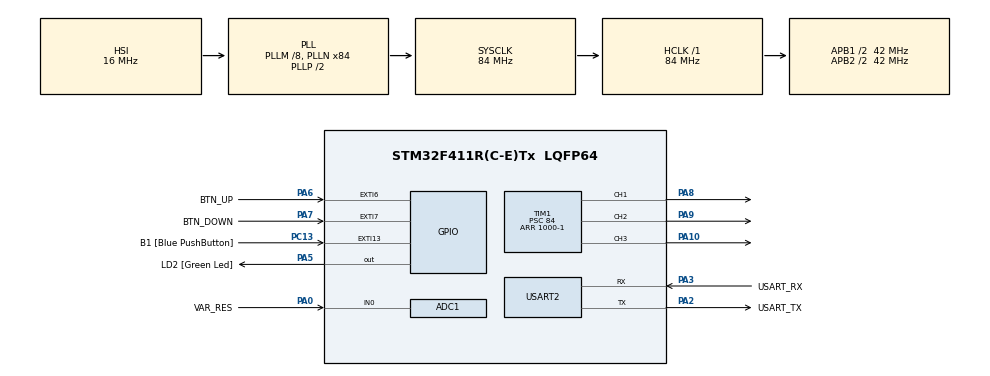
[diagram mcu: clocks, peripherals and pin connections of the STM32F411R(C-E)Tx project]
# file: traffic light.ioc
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ADC1.Channel-0\#ChannelRegularConversion=ADC_CHANNEL_0
ADC1.NbrOfConversionFlag=1
ADC1.Rank-0\#ChannelRegularConversion=1
ADC1.SamplingTime-0\#ChannelRegularConversion=ADC_SAMPLETIME_15CYCLES
ADC1.ScanConvMode=DISABLE
ADC1.master=1
Mcu.Family=STM32F4
Mcu.Name=STM32F411R(C-E)Tx
Mcu.Package=LQFP64
NVIC.ADC_IRQn=true\:0\:0\:false\:false\:true\:true\:true\:true
NVIC.EXTI9_5_IRQn=true\:0\:0\:false\:false\:true\:true\:true\:true
NVIC.PriorityGroup=NVIC_PRIORITYGROUP_0
NVIC.TIM1_UP_TIM10_IRQn=true\:0\:0\:false\:false\:true\:true\:true\:true
PA0-WKUP.GPIO_Label=VAR_RES
PA0-WKUP.Signal=ADCx_IN0
PA10.Signal=S_TIM1_CH3
PA13.GPIO_Label=TMS
PA13.Mode=Serial_Wire
PA13.Signal=SYS_JTMS-SWDIO
PA14.GPIO_Label=TCK
PA14.Mode=Serial_Wire
PA14.Signal=SYS_JTCK-SWCLK
PA2.GPIO_Label=USART_TX
PA2.Mode=Asynchronous
PA2.Signal=USART2_TX
PA3.GPIO_Label=USART_RX
PA3.Mode=Asynchronous
PA3.Signal=USART2_RX
PA5.GPIO_Label=LD2 [Green Led]
PA5.Signal=GPIO_Output
PA6.GPIO_Label=BTN_UP
PA6.Signal=GPXTI6
PA7.GPIO_Label=BTN_DOWN
PA7.Signal=GPXTI7
PA8.Signal=S_TIM1_CH1
PA9.Signal=S_TIM1_CH2
PB3.GPIO_Label=SWO
PB3.Signal=SYS_JTDO-SWO
PC13-ANTI_TAMP.GPIO_Label=B1 [Blue PushButton]
PC13-ANTI_TAMP.GPIO_ModeDefaultEXTI=GPIO_MODE_IT_FALLING
PC13-ANTI_TAMP.Signal=GPXTI13
PC14-OSC32_IN.Mode=LSE-External-Oscillator
PC14-OSC32_IN.Signal=RCC_OSC32_IN
PC15-OSC32_OUT.Mode=LSE-External-Oscillator
PC15-OSC32_OUT.Signal=RCC_OSC32_OUT
PH0\ -\ OSC_IN.Mode=HSE-External-Clock-Source
PH0\ -\ OSC_IN.Signal=RCC_OSC_IN
PH1\ -\ OSC_OUT.Mode=HSE-External-Clock-Source
PH1\ -\ OSC_OUT.Signal=RCC_OSC_OUT
ProjectManager.HeapSize=0x200
ProjectManager.StackSize=0x400
ProjectManager.TargetToolchain=STM32CubeIDE
RCC.48MHZClocksFreq_Value=42000000
RCC.AHBFreq_Value=84000000
RCC.APB1CLKDivider=RCC_HCLK_DIV2
RCC.APB1Freq_Value=42000000
RCC.APB1TimFreq_Value=84000000
RCC.APB2CLKDivider=RCC_HCLK_DIV2
RCC.APB2Freq_Value=42000000
RCC.APB2TimFreq_Value=84000000
RCC.CortexFreq_Value=84000000
RCC.FLatency-AdvancedSettings=FLASH_LATENCY_2
RCC.HCLKFreq_Value=84000000
RCC.HSE_VALUE=8000000
RCC.HSI_VALUE=16000000
RCC.PLLM=8
RCC.PLLN=84
RCC.SYSCLKFreq_VALUE=84000000
RCC.SYSCLKSource=RCC_SYSCLKSOURCE_PLLCLK
RCC.VCOOutputFreq_Value=168000000
SH.ADCx_IN0.0=ADC1_IN0,IN0
SH.S_TIM1_CH1.0=TIM1_CH1,PWM Generation1 CH1
SH.S_TIM1_CH2.0=TIM1_CH2,PWM Generation2 CH2
SH.S_TIM1_CH3.0=TIM1_CH3,PWM Generation3 CH3
TIM1.Channel-PWM\ Generation1\ CH1=TIM_CHANNEL_1
TIM1.Channel-PWM\ Generation2\ CH2=TIM_CHANNEL_2
TIM1.Channel-PWM\ Generation3\ CH3=TIM_CHANNEL_3
TIM1.Period=1000-1
TIM1.Prescaler=84
USART2.VirtualMode=VM_ASYNC
board=NUCLEO-F411RE

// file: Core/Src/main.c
/* USER CODE BEGIN Header */
/**
  ******************************************************************************
  * @file           : main.c
  * @brief          : Main program body
  ******************************************************************************
  * @attention
  *
  * Copyright (c) 2025 STMicroelectronics.
  * All rights reserved.
  *
  * This software is licensed under terms that can be found in the LICENSE file
  * in the root directory of this software component.
  * If no LICENSE file comes with this software, it is provided AS-IS.
  *
  ******************************************************************************
  */
/* USER CODE END Header */
#include "main.h"

/* USER CODE BEGIN Includes */
#include <stdio.h>
/* USER CODE END Includes */

/* USER CODE BEGIN PTD */
typedef enum {
	LIGHT_RED,
	LIGHT_YELLOW,
	LIGHT_GREEN
} TrafficLightState;
/* USER CODE END PTD */

/* USER CODE BEGIN PD */
#ifdef __GNUC__
/* With GCC, small printf (option LD Linker->Libraries->Small printf
   set to 'Yes') calls __io_putchar() */
#define PUTCHAR_PROTOTYPE int __io_putchar(int ch)
#else
#define PUTCHAR_PROTOTYPE int fputc(int ch, FILE *f)
#endif /* __GNUC__ */

#define MAX_ADD_DURATION 10
/* USER CODE END PD */

ADC_HandleTypeDef hadc1;

TIM_HandleTypeDef htim1;

UART_HandleTypeDef huart2;

/* USER CODE BEGIN PV */
int RLedVal = 0;
int GLedVal = 0;
int BLedVal = 0;

int RDurationSec = 3;
int YDurationSec = 1;
int GDurationSec = 3;

int addDurationSec = 0;

int trafficCount = 0;

int brightness = 0;

TrafficLightState trafficLightState = LIGHT_RED;
/* USER CODE END PV */

void SystemClock_Config(void);
static void MX_GPIO_Init(void);
static void MX_USART2_UART_Init(void);
static void MX_ADC1_Init(void);
static void MX_TIM1_Init(void);
/* USER CODE BEGIN PFP */
void Traffic_SecondUpdate(void);
/* USER CODE END PFP */

int main(void)
{

  /* MCU Configuration--------------------------------------------------------*/

  /* Reset of all peripherals, Initializes the Flash interface and the Systick. */
  HAL_Init();

  /* Configure the system clock */
  SystemClock_Config();

  /* Initialize all configured peripherals */
  MX_GPIO_Init();
  MX_USART2_UART_Init();
  MX_ADC1_Init();
  MX_TIM1_Init();
  /* USER CODE BEGIN 2 */
  HAL_TIM_PWM_Start(&htim1, TIM_CHANNEL_1);
  HAL_TIM_PWM_Start(&htim1, TIM_CHANNEL_2);
  HAL_TIM_PWM_Start(&htim1, TIM_CHANNEL_3);

  HAL_TIM_Base_Start_IT(&htim1);  // 업데이트 인터럽트 시작
  // ADC 레귤러 그룹의 동작을 시작하고 관련 이터럽트를 인에이블 시킴
  if(HAL_ADC_Start_IT(&hadc1) != HAL_OK) {
	  Error_Handler();
  }
  /* USER CODE END 2 */

  /* Infinite loop */
  while (1)
  {

    /* USER CODE BEGIN 3 */
	  __HAL_TIM_SET_COMPARE(&htim1, TIM_CHANNEL_1, RLedVal); // 빨강
	  __HAL_TIM_SET_COMPARE(&htim1, TIM_CHANNEL_2, GLedVal); // 초록
	  __HAL_TIM_SET_COMPARE(&htim1, TIM_CHANNEL_3, BLedVal); // 파랑
  }
  /* USER CODE END 3 */
}

void SystemClock_Config(void)
{
  RCC_OscInitTypeDef RCC_OscInitStruct = {0};
  RCC_ClkInitTypeDef RCC_ClkInitStruct = {0};

  /** Configure the main internal regulator output voltage
  */
  __HAL_RCC_PWR_CLK_ENABLE();
  __HAL_PWR_VOLTAGESCALING_CONFIG(PWR_REGULATOR_VOLTAGE_SCALE1);

  /** Initializes the RCC Oscillators according to the specified parameters
  * in the RCC_OscInitTypeDef structure.
  */
  RCC_OscInitStruct.OscillatorType = RCC_OSCILLATORTYPE_HSI;
  RCC_OscInitStruct.HSIState = RCC_HSI_ON;
  RCC_OscInitStruct.HSICalibrationValue = RCC_HSICALIBRATION_DEFAULT;
  RCC_OscInitStruct.PLL.PLLState = RCC_PLL_ON;
  RCC_OscInitStruct.PLL.PLLSource = RCC_PLLSOURCE_HSI;
  RCC_OscInitStruct.PLL.PLLM = 8;
  RCC_OscInitStruct.PLL.PLLN = 84;
  RCC_OscInitStruct.PLL.PLLP = RCC_PLLP_DIV2;
  RCC_OscInitStruct.PLL.PLLQ = 4;
  if (HAL_RCC_OscConfig(&RCC_OscInitStruct) != HAL_OK)
  {
    Error_Handler();
  }

  /** Initializes the CPU, AHB and APB buses clocks
  */
  RCC_ClkInitStruct.ClockType = RCC_CLOCKTYPE_HCLK|RCC_CLOCKTYPE_SYSCLK
                              |RCC_CLOCKTYPE_PCLK1|RCC_CLOCKTYPE_PCLK2;
  RCC_ClkInitStruct.SYSCLKSource = RCC_SYSCLKSOURCE_PLLCLK;
  RCC_ClkInitStruct.AHBCLKDivider = RCC_SYSCLK_DIV1;
  RCC_ClkInitStruct.APB1CLKDivider = RCC_HCLK_DIV2;
  RCC_ClkInitStruct.APB2CLKDivider = RCC_HCLK_DIV2;

  if (HAL_RCC_ClockConfig(&RCC_ClkInitStruct, FLASH_LATENCY_2) != HAL_OK)
  {
    Error_Handler();
  }
}

static void MX_ADC1_Init(void)
{

  ADC_ChannelConfTypeDef sConfig = {0};

  /** Configure the global features of the ADC (Clock, Resolution, Data Alignment and number of conversion)
  */
  hadc1.Instance = ADC1;
  hadc1.Init.ClockPrescaler = ADC_CLOCK_SYNC_PCLK_DIV2;
  hadc1.Init.Resolution = ADC_RESOLUTION_12B;
  hadc1.Init.ScanConvMode = DISABLE;
  hadc1.Init.ContinuousConvMode = DISABLE;
  hadc1.Init.DiscontinuousConvMode = DISABLE;
  hadc1.Init.ExternalTrigConvEdge = ADC_EXTERNALTRIGCONVEDGE_NONE;
  hadc1.Init.ExternalTrigConv = ADC_SOFTWARE_START;
  hadc1.Init.DataAlign = ADC_DATAALIGN_RIGHT;
  hadc1.Init.NbrOfConversion = 1;
  hadc1.Init.DMAContinuousRequests = DISABLE;
  hadc1.Init.EOCSelection = ADC_EOC_SINGLE_CONV;
  if (HAL_ADC_Init(&hadc1) != HAL_OK)
  {
    Error_Handler();
  }

  /** Configure for the selected ADC regular channel its corresponding rank in the sequencer and its sample time.
  */
  sConfig.Channel = ADC_CHANNEL_0;
  sConfig.Rank = 1;
  sConfig.SamplingTime = ADC_SAMPLETIME_15CYCLES;
  if (HAL_ADC_ConfigChannel(&hadc1, &sConfig) != HAL_OK)
  {
    Error_Handler();
  }

}

static void MX_TIM1_Init(void)
{

  TIM_MasterConfigTypeDef sMasterConfig = {0};
  TIM_OC_InitTypeDef sConfigOC = {0};
  TIM_BreakDeadTimeConfigTypeDef sBreakDeadTimeConfig = {0};

  htim1.Instance = TIM1;
  htim1.Init.Prescaler = 84;
  htim1.Init.CounterMode = TIM_COUNTERMODE_UP;
  htim1.Init.Period = 1000-1;
  htim1.Init.ClockDivision = TIM_CLOCKDIVISION_DIV1;
  htim1.Init.RepetitionCounter = 0;
  htim1.Init.AutoReloadPreload = TIM_AUTORELOAD_PRELOAD_DISABLE;
  if (HAL_TIM_PWM_Init(&htim1) != HAL_OK)
  {
    Error_Handler();
  }
  sMasterConfig.MasterOutputTrigger = TIM_TRGO_RESET;
  sMasterConfig.MasterSlaveMode = TIM_MASTERSLAVEMODE_DISABLE;
  if (HAL_TIMEx_MasterConfigSynchronization(&htim1, &sMasterConfig) != HAL_OK)
  {
    Error_Handler();
  }
  sConfigOC.OCMode = TIM_OCMODE_PWM1;
  sConfigOC.Pulse = 0;
  sConfigOC.OCPolarity = TIM_OCPOLARITY_HIGH;
  sConfigOC.OCNPolarity = TIM_OCNPOLARITY_HIGH;
  sConfigOC.OCFastMode = TIM_OCFAST_DISABLE;
  sConfigOC.OCIdleState = TIM_OCIDLESTATE_RESET;
  sConfigOC.OCNIdleState = TIM_OCNIDLESTATE_RESET;
  if (HAL_TIM_PWM_ConfigChannel(&htim1, &sConfigOC, TIM_CHANNEL_1) != HAL_OK)
  {
    Error_Handler();
  }
  if (HAL_TIM_PWM_ConfigChannel(&htim1, &sConfigOC, TIM_CHANNEL_2) != HAL_OK)
  {
    Error_Handler();
  }
  if (HAL_TIM_PWM_ConfigChannel(&htim1, &sConfigOC, TIM_CHANNEL_3) != HAL_OK)
  {
    Error_Handler();
  }
  sBreakDeadTimeConfig.OffStateRunMode = TIM_OSSR_DISABLE;
  sBreakDeadTimeConfig.OffStateIDLEMode = TIM_OSSI_DISABLE;
  sBreakDeadTimeConfig.LockLevel = TIM_LOCKLEVEL_OFF;
  sBreakDeadTimeConfig.DeadTime = 0;
  sBreakDeadTimeConfig.BreakState = TIM_BREAK_DISABLE;
  sBreakDeadTimeConfig.BreakPolarity = TIM_BREAKPOLARITY_HIGH;
  sBreakDeadTimeConfig.AutomaticOutput = TIM_AUTOMATICOUTPUT_DISABLE;
  if (HAL_TIMEx_ConfigBreakDeadTime(&htim1, &sBreakDeadTimeConfig) != HAL_OK)
  {
    Error_Handler();
  }
  HAL_TIM_MspPostInit(&htim1);

}

static void MX_USART2_UART_Init(void)
{

  huart2.Instance = USART2;
  huart2.Init.BaudRate = 115200;
  huart2.Init.WordLength = UART_WORDLENGTH_8B;
  huart2.Init.StopBits = UART_STOPBITS_1;
  huart2.Init.Parity = UART_PARITY_NONE;
  huart2.Init.Mode = UART_MODE_TX_RX;
  huart2.Init.HwFlowCtl = UART_HWCONTROL_NONE;
  huart2.Init.OverSampling = UART_OVERSAMPLING_16;
  if (HAL_UART_Init(&huart2) != HAL_OK)
  {
    Error_Handler();
  }

}

static void MX_GPIO_Init(void)
{
  GPIO_InitTypeDef GPIO_InitStruct = {0};

  /* GPIO Ports Clock Enable */
  __HAL_RCC_GPIOC_CLK_ENABLE();
  __HAL_RCC_GPIOH_CLK_ENABLE();
  __HAL_RCC_GPIOA_CLK_ENABLE();
  __HAL_RCC_GPIOB_CLK_ENABLE();

  /*Configure GPIO pin Output Level */
  HAL_GPIO_WritePin(LD2_GPIO_Port, LD2_Pin, GPIO_PIN_RESET);

  /*Configure GPIO pin : B1_Pin */
  GPIO_InitStruct.Pin = B1_Pin;
  GPIO_InitStruct.Mode = GPIO_MODE_IT_FALLING;
  GPIO_InitStruct.Pull = GPIO_NOPULL;
  HAL_GPIO_Init(B1_GPIO_Port, &GPIO_InitStruct);

  /*Configure GPIO pin : LD2_Pin */
  GPIO_InitStruct.Pin = LD2_Pin;
  GPIO_InitStruct.Mode = GPIO_MODE_OUTPUT_PP;
  GPIO_InitStruct.Pull = GPIO_NOPULL;
  GPIO_InitStruct.Speed = GPIO_SPEED_FREQ_LOW;
  HAL_GPIO_Init(LD2_GPIO_Port, &GPIO_InitStruct);

  /*Configure GPIO pins : BTN_UP_Pin BTN_DOWN_Pin */
  GPIO_InitStruct.Pin = BTN_UP_Pin|BTN_DOWN_Pin;
  GPIO_InitStruct.Mode = GPIO_MODE_IT_RISING;
  GPIO_InitStruct.Pull = GPIO_NOPULL;
  HAL_GPIO_Init(GPIOA, &GPIO_InitStruct);

  /* EXTI interrupt init*/
  HAL_NVIC_SetPriority(EXTI9_5_IRQn, 0, 0);
  HAL_NVIC_EnableIRQ(EXTI9_5_IRQn);

}

/* USER CODE BEGIN 4 */
PUTCHAR_PROTOTYPE
{
  /* Place your implementation of fputc here */
  /* e.g. write a character to the USART6 and Loop until the end of transmission */
  HAL_UART_Transmit(&huart2, (uint8_t *)&ch, 1, 0xFFFF);

  return ch;
}
void HAL_ADC_ConvCpltCallback(ADC_HandleTypeDef *hadc)
{
	if(hadc->Instance == ADC1)
	{
		uint32_t val = HAL_ADC_GetValue(hadc);	// 0~4095
		brightness = (int)((val * 900) / 4096);        // 0~899로 변환
//		printf("val : %ld\r\n", val);
//		printf("brightness : %d\r\n", brightness);
		HAL_ADC_Start_IT(hadc);	// 다음 변환 재시작
	}
}
void HAL_GPIO_EXTI_Callback(uint16_t GPIO_Pin)
{
	if(GPIO_Pin == BTN_UP_Pin)
	{
		addDurationSec = (addDurationSec + 1 > MAX_ADD_DURATION) ? addDurationSec : addDurationSec + 1;
//		printf("R : %d\r\n", RDurationSec + addDurationSec);
//		printf("Y : %d\r\n", YDurationSec + addDurationSec);
//		printf("G : %d\r\n", GDurationSec + addDurationSec);
//		printf("===========================\r\n");
	}
	else if(GPIO_Pin == BTN_DOWN_Pin)
	{
		addDurationSec = (addDurationSec - 1 <= 0) ? addDurationSec : addDurationSec - 1;
//		printf("R : %d\r\n", RDurationSec + addDurationSec);
//		printf("Y : %d\r\n", YDurationSec + addDurationSec);
//		printf("G : %d\r\n", GDurationSec + addDurationSec);
//		printf("===========================\r\n");
	}
}
void HAL_TIM_PeriodElapsedCallback(TIM_HandleTypeDef *htim)
{
	if(htim->Instance == TIM1)
	{
		static int cnt = 0;
		cnt = (cnt + 1) % 1000;
		if(cnt == 999)
			Traffic_SecondUpdate();
	}
}
void Traffic_SecondUpdate(void)
{
	trafficCount++;

	if(trafficLightState == LIGHT_RED)
	{
		if(trafficCount == RDurationSec + addDurationSec)
		{
			trafficCount = 0;
			trafficLightState = LIGHT_YELLOW;
			RLedVal = 100 + brightness;
			GLedVal = 100 + brightness;
			printf("RLedVal : %d\r\n", RLedVal);
			printf("GLedVal : %d\r\n", GLedVal);
		}
	}
	else if(trafficLightState == LIGHT_YELLOW)
	{
		if(trafficCount == YDurationSec + addDurationSec)
		{
			trafficCount = 0;
			trafficLightState = LIGHT_GREEN;
			RLedVal = 0;
			GLedVal = 100 + brightness;
			printf("RLedVal : %d\r\n", RLedVal);
			printf("GLedVal : %d\r\n", GLedVal);
		}
	}
	else if(trafficLightState == LIGHT_GREEN)
	{
		if(trafficCount == GDurationSec + addDurationSec)
		{
			trafficCount = 0;
			trafficLightState = LIGHT_RED;
			RLedVal = 100 + brightness;
			GLedVal = 0;
			printf("RLedVal : %d\r\n", RLedVal);
			printf("GLedVal : %d\r\n", GLedVal);
		}
	}
}
/* USER CODE END 4 */

void Error_Handler(void)
{
  __disable_irq();
  while (1)
  {
  }
}
